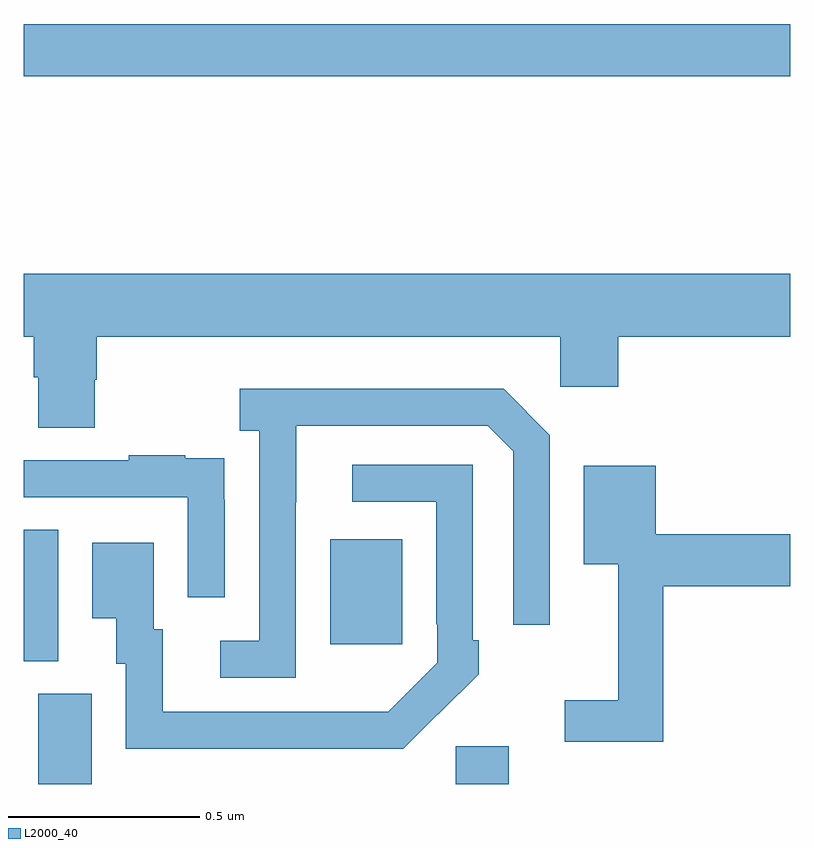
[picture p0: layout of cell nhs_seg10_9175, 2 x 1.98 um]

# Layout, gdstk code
import gdstk
lib = gdstk.Library(unit=1e-6, precision=1e-09)
def R(c, l, rs):  # rectangles x0, y0, x1, y1
    for r in rs: c.add(gdstk.rectangle(r[:2], r[2:], *l))
def P(c, l, *ps):  # polygons
    for p in ps: c.add(gdstk.Polygon(p, *l))
L2000_40 = (2000, 40)

nhs_seg10_9175 = lib.new_cell('nhs_seg10_9175')
R(nhs_seg10_9175, L2000_40, [(226.037,1280.5,226.177,1280.736), (227.127,1280.5,227.266,1280.598), (226,1280.821,226.09,1281.164), (226.799,1280.865,226.987,1281.139), (226,1282.348,228,1282.484)])
P(nhs_seg10_9175, L2000_40, [(226.185,1281.555),(226.19,1281.555),(226.19,1281.668),(227.4,1281.668),(227.4,1281.537),(227.552,1281.537),(227.552,1281.668),(228,1281.668),(228,1281.832),(226,1281.832),(226,1281.668),(226.025,1281.668),(226.025,1281.562),(226.037,1281.562),(226.037,1281.43),(226.185,1281.43)],
  [(226.71,1281.235),(226.711,1281.235),(226.711,1281.435),(227.211,1281.435),(227.277,1281.369),(227.277,1280.916),(227.373,1280.916),(227.373,1281.411),(227.252,1281.532),(226.563,1281.532),(226.563,1281.422),(226.614,1281.422),(226.614,1280.874),(226.512,1280.874),(226.512,1280.778),(226.71,1280.778)],
  [(226.524,1281.242),(226.523,1281.242),(226.523,1281.351),(226.421,1281.351),(226.421,1281.358),(226.273,1281.358),(226.273,1281.345),(226,1281.345),(226,1281.249),(226.428,1281.249),(226.428,1280.988),(226.524,1280.988)],
  [(227.081,1280.683),(227.082,1280.682),(227.187,1280.787),(227.187,1280.875),(227.172,1280.875),(227.172,1281.333),(226.857,1281.333),(226.857,1281.237),(227.076,1281.237),(227.076,1280.917),(227.079,1280.917),(227.079,1280.817),(226.951,1280.689),(226.847,1280.689),(226.847,1280.688),(226.363,1280.688),(226.363,1280.904),(226.339,1280.904),(226.339,1281.13),(226.178,1281.13),(226.178,1280.933),(226.241,1280.933),(226.241,1280.814),(226.266,1280.814),(226.266,1280.592),(226.99,1280.592)],
  [(227.669,1281.016),(228,1281.016),(228,1281.152),(227.649,1281.152),(227.649,1281.331),(227.462,1281.331),(227.462,1281.074),(227.552,1281.074),(227.552,1280.719),(227.412,1280.719),(227.412,1280.61),(227.669,1280.61)])

lib.write_gds('nhs_seg10_9175.gds')
